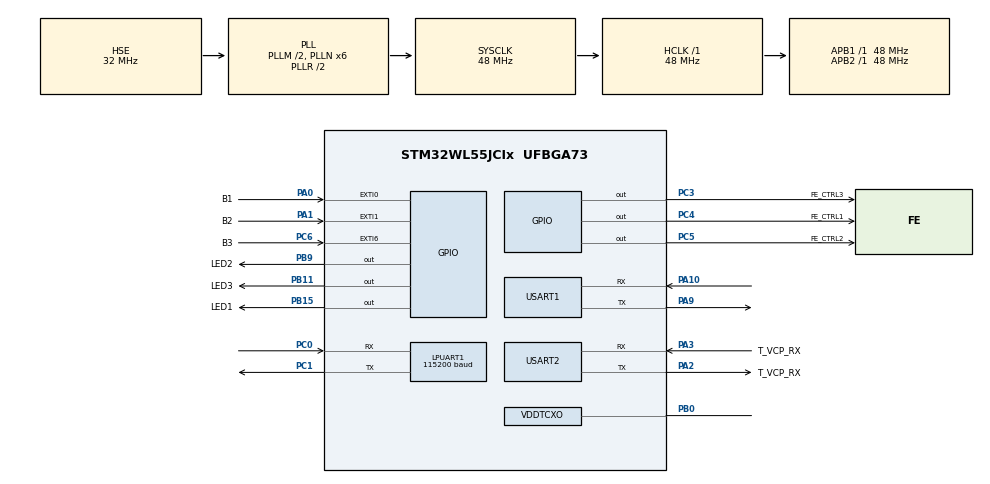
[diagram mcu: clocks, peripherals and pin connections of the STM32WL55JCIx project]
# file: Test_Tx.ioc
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LPUART1.BaudRate=115200
Mcu.Family=STM32WL
Mcu.Name=STM32WL55JCIx
Mcu.Package=UFBGA73
NVIC.LPUART1_IRQn=true\:0\:0\:false\:false\:true\:true\:true\:true
NVIC.PriorityGroup=NVIC_PRIORITYGROUP_4
NVIC.SUBGHZ_Radio_IRQn=true\:0\:0\:false\:false\:true\:true\:true\:true
NVIC.TIM1_UP_IRQn=true\:0\:0\:false\:false\:true\:true\:true\:true
NVIC.USART1_IRQn=true\:0\:0\:false\:false\:true\:true\:true\:true
NVIC.USART2_IRQn=true\:0\:0\:false\:false\:true\:true\:true\:true
OSC_IN.Mode=HSE-TCXO
OSC_IN.Signal=RCC_OSC_IN
PA0.GPIO_Label=B1
PA0.GPIO_ModeDefaultEXTI=GPIO_MODE_IT_FALLING
PA0.GPIO_PuPd=GPIO_PULLUP
PA0.Signal=GPXTI0
PA1.GPIO_Label=B2
PA1.GPIO_ModeDefaultEXTI=GPIO_MODE_IT_FALLING
PA1.GPIO_PuPd=GPIO_PULLUP
PA1.Signal=GPXTI1
PA10.Mode=Asynchronous
PA10.Signal=USART1_RX
PA13.Mode=Serial_Wire
PA13.Signal=DEBUG_JTMS-SWDIO
PA14.Mode=Serial_Wire
PA14.Signal=DEBUG_JTCK-SWCLK
PA2.GPIO_Label=T_VCP_RX
PA2.Mode=Asynchronous
PA2.Signal=USART2_TX
PA3.GPIO_Label=T_VCP_RX
PA3.Mode=Asynchronous
PA3.Signal=USART2_RX
PA9.Mode=Asynchronous
PA9.Signal=USART1_TX
PB0-VDD_TCXO.Mode=HSE-TCXO
PB0-VDD_TCXO.Signal=VDDTCXO
PB11.GPIO_Label=LED3
PB11.GPIO_Speed=GPIO_SPEED_FREQ_HIGH
PB11.Signal=GPIO_Output
PB15.GPIO_Label=LED1
PB15.GPIO_Speed=GPIO_SPEED_FREQ_HIGH
PB15.Signal=GPIO_Output
PB9.GPIO_FM9=__NULL
PB9.GPIO_Label=LED2
PB9.GPIO_Speed=GPIO_SPEED_FREQ_HIGH
PB9.Signal=GPIO_Output
PC0.Mode=Asynchronous
PC0.Signal=LPUART1_RX
PC1.Mode=Asynchronous
PC1.Signal=LPUART1_TX
PC14-OSC32_IN.Signal=RCC_OSC32_IN
PC15-OSC32_OUT.Signal=RCC_OSC32_OUT
PC3.GPIO_Label=FE_CTRL3
PC3.GPIO_Speed=GPIO_SPEED_FREQ_VERY_HIGH
PC3.Signal=GPIO_Output
PC4.GPIO_Label=FE_CTRL1
PC4.GPIO_Speed=GPIO_SPEED_FREQ_VERY_HIGH
PC4.Signal=GPIO_Output
PC5.GPIO_Label=FE_CTRL2
PC5.GPIO_Speed=GPIO_SPEED_FREQ_VERY_HIGH
PC5.Signal=GPIO_Output
PC6.GPIO_Label=B3
PC6.GPIO_ModeDefaultEXTI=GPIO_MODE_IT_FALLING
PC6.GPIO_PuPd=GPIO_PULLUP
PC6.Signal=GPXTI6
ProjectManager.HeapSize=0x200
ProjectManager.StackSize=0x400
ProjectManager.TargetToolchain=STM32CubeIDE
RCC.AHBFreq_Value=48000000
RCC.APB1Freq_Value=48000000
RCC.APB1TimFreq_Value=48000000
RCC.APB2Freq_Value=48000000
RCC.APB2TimFreq_Value=48000000
RCC.APB3Freq_Value=48000000
RCC.CortexFreq_Value=48000000
RCC.HCLKFreq_Value=48000000
RCC.HSE_VALUE=32000000
RCC.HSI_VALUE=16000000
RCC.LSE_VALUE=32768
RCC.PLLM=RCC_PLLM_DIV2
RCC.PLLN=6
RCC.PLLSourceVirtual=RCC_PLLSOURCE_HSE
RCC.SYSCLKFreq_VALUE=48000000
RCC.SYSCLKSource=RCC_SYSCLKSOURCE_PLLCLK
RCC.VCOOutputFreq_Value=96000000
TIM1.Period=1000-1
TIM1.Prescaler=48-1
TIM2.Period=1000001-1
TIM2.Prescaler=48-1
USART1.VirtualMode-Asynchronous=VM_ASYNC
USART2.VirtualMode-Asynchronous=VM_ASYNC
VP_ADV_TRACE_VS_ADV_TRACE.Mode=ADV_TRACE_Enabled
VP_MISC_VS_MISC.Mode=MISC_Enabled
VP_SEQUENCER_M4_VS_SEQUENCER.Mode=SEQUENCER_Enabled
VP_SUBGHZ_PHY_VS_SubGhzPhy.Mode=SubGhzPhy_Enabled
VP_SUBGHZ_VS_SUBGHZ.Mode=SUBGHZ_Activate
VP_TIM1_VS_ClockSourceINT.Mode=Internal
VP_TIM2_VS_ClockSourceINT.Mode=Internal
VP_TIMER_VS_TIMER.Mode=TIMER_Enabled
VP_TINY_LPM_VS_TINY_LPM.Mode=TINY_LPM_Enabled
board=NUCLEO-WL55JC2

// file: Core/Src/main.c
/* USER CODE BEGIN Header */
/**
 ******************************************************************************
 * @file           : main.c
 * @brief          : Main program body
 ******************************************************************************
 * @attention
 *
 * Copyright (c) 2024 STMicroelectronics.
 * All rights reserved.
 *
 * This software is licensed under terms that can be found in the LICENSE file
 * in the root directory of this software component.
 * If no LICENSE file comes with this software, it is provided AS-IS.
 *
 ******************************************************************************
 */
/* USER CODE END Header */
#include "main.h"
#include "app_subghz_phy.h"

/* USER CODE BEGIN Includes */

#include "com_debug.h"
#include "stdio.h"
#include "string.h"
#include "radio_driver.h"
/* USER CODE END Includes */

/* USER CODE BEGIN PTD */
#define PAYLOAD_LENGTH (16)

#define FREQ_401_MHZ            (401375000) //DLink  space to earth
#define FREQ_402_MHZ			(402375000)	//UPLINK earth to space

#define PA_DUTY_CYCLE           (0x04)
#define HP_MAX                  (0x07)
#define PA_SEL                  (0x00)

//#define POWER                   (0x16)
//#define RAMP_TIME               (0x02)

#define POWER                   (0x0E)      // Reduce power for lower consumption
#define RAMP_TIME               (0x03)      // Adjust ramp time for lower power
/* USER CODE END PTD */

/* USER CODE BEGIN PD */
PacketParams_t pkt_params;
ModulationParams_t mod_params;
/* USER CODE END PD */

UART_HandleTypeDef hlpuart1;
UART_HandleTypeDef huart1;
UART_HandleTypeDef huart2;

SUBGHZ_HandleTypeDef hsubghz;

TIM_HandleTypeDef htim1;
TIM_HandleTypeDef htim2;

/* USER CODE BEGIN PV */
uint8_t rxCMD[6];
uint8_t rxOBCCMD[4];
uint8_t rxOBCCMDLP[4];

uint8_t p_len = PAYLOAD_LENGTH;

uint8_t tx_cmd[PAYLOAD_LENGTH];
uint8_t rx_cmd[PAYLOAD_LENGTH];

uint8_t ack;
uint8_t pkt_id = 0;
uint8_t counter = 0;

uint16_t crc = 0;
uint8_t DATA_SIZE = 14;
uint8_t rssi_value;

char temp_rx[100];
char temp_OBC_rx[100];
char temp_OBC_rx_LP[100];

uint8_t TX_FLAG = 0;

uint16_t mSEC = 0;
uint8_t sec = 0;
uint8_t min = 0;
uint8_t hour = 0;
/* USER CODE END PV */

void SystemClock_Config(void);
static void MX_GPIO_Init(void);
static void MX_USART1_UART_Init(void);
static void MX_TIM2_Init(void);
static void MX_USART2_UART_Init(void);
static void MX_LPUART1_UART_Init(void);
static void MX_TIM1_Init(void);
/* USER CODE BEGIN PFP */
uint16_t calc_CRC(const uint8_t *data, uint8_t data_length);
void radioTxData();

void DioIrqHndlr(RadioIrqMasks_t radioIrq);
/* USER CODE END PFP */

/* USER CODE BEGIN 0 */
void HAL_TIM_PeriodElapsedCallback(TIM_HandleTypeDef *htim) {
	if (htim == &htim1) {
		mSEC++;

		if (mSEC > 999) {
			mSEC = 0;
			sec++;
		}

		if (sec > 0) {
			if (sec % 5 == 0) {
				TX_FLAG = 1;
			}
		}

		if (sec > 59) {
			sec = 0;
			min++;
		}

		if (min > 59) {
			min = 0;
			hour++;
		}

		if (hour > 23) {
			hour = 0;
			min = 0;
			sec = 0;
		}
	}
}

uint16_t calc_CRC(const uint8_t *data, uint8_t data_length) {

	uint16_t crcReg = 0xFFFF;	// Initialize the CRC register with 0xFFFF
	uint16_t calc = 0x8408;		// Polynomial for CRC-16
	uint16_t w;
	int i, j;
	uint8_t calc_data[DATA_SIZE];  // in 16 bytes, 14 are data bytes

	// Copy data into calc_data
	for (i = 0; i < data_length; i++) {
		calc_data[i] = data[i];
		// Iterate over each byte of data
		for (j = 0; j < 8; j++) {
			w = (crcReg ^ calc_data[i]) & 0x0001; // XOR the LSB of crcReg with the LSB of calc_data
			crcReg = crcReg >> 1;			// Right-shift the crcReg by 1 bit
			if (w == 1) {
				crcReg = crcReg ^ calc;	// If w is 1, XOR the crcReg with the polynomial
			}
			calc_data[i] = calc_data[i] >> 1;// Right-shift the data byte by 1 bit
		}
	}
	crcReg = crcReg ^ 0xFFFF;						// Final XOR with 0xFFFF
	return crcReg;
}

void radioTxData() {
	tx_cmd[0] = 0x42;
	tx_cmd[1] = 0x4D;

	//getSoilSensorData();
	tx_cmd[2] = 0x01; 		       //gst data (GST ID)
	//tx_cmd[3] = read_soil_value >> 8 & 0xff; 	  //gst DATA (SOIL SENSOR - MSB)
	//tx_cmd[4] = read_soil_value & 0xff;     //gst data (SOIL SENSOR LSB)

	tx_cmd[3] = 0x1A; 	  //gst DATA (SOIL SENSOR - MSB)
	tx_cmd[4] = 0x23;     //gst data (SOIL SENSOR LSB)

	tx_cmd[5] = 0x33;    //gst data
	tx_cmd[6] = 0x44;
	tx_cmd[7] = 0x55;
	tx_cmd[8] = 0x66;
	tx_cmd[9] = 0x77;
	tx_cmd[10] = 0x88;
	tx_cmd[11] = 0x99;
	tx_cmd[12] = 0x38;
	tx_cmd[13] = 0xA7;
	crc = 0;
	crc = calc_CRC(tx_cmd, DATA_SIZE);
	tx_cmd[14] = crc >> 8;
	tx_cmd[15] = crc;
}
/* USER CODE END 0 */

int main(void) {

	/* MCU Configuration--------------------------------------------------------*/

	/* Reset of all peripherals, Initializes the Flash interface and the Systick. */
	HAL_Init();

	/* Configure the system clock */
	SystemClock_Config();

	/* Initialize all configured peripherals */
	MX_GPIO_Init();
	MX_SubGHz_Phy_Init();
	MX_USART1_UART_Init();
	MX_TIM2_Init();
	MX_USART2_UART_Init();
	MX_LPUART1_UART_Init();
	MX_TIM1_Init();
	/* USER CODE BEGIN 2 */

	HAL_TIM_Base_Start(&htim2);

	pkt_params.PacketType = PACKET_TYPE_LORA;
	pkt_params.Params.LoRa.PayloadLength = PAYLOAD_LENGTH;
	pkt_params.Params.LoRa.PreambleLength = 8;
	pkt_params.Params.LoRa.HeaderType = LORA_PACKET_IMPLICIT;
	pkt_params.Params.LoRa.CrcMode = LORA_CRC_ON;
	pkt_params.Params.LoRa.InvertIQ = LORA_IQ_NORMAL;

	mod_params.PacketType = PACKET_TYPE_LORA;
	mod_params.Params.LoRa.Bandwidth = LORA_BW_031;
	mod_params.Params.LoRa.SpreadingFactor = LORA_SF10;
	mod_params.Params.LoRa.CodingRate = LORA_CR_4_8;
//	mod_params.Params.LoRa.LowDatarateOptimize = 0;
	mod_params.Params.LoRa.LowDatarateOptimize = 1; // Enable low data rate optimization

	SUBGRF_Init(DioIrqHndlr);
	SUBGRF_SetBufferBaseAddress(0x00, 0x00);
	SUBGRF_SetPayload(tx_cmd, PAYLOAD_LENGTH);
	SUBGRF_SetPacketParams(&pkt_params);
	SUBGRF_SetSyncWord(( uint8_t[] ) { 0xC1, 0x94, 0xC1, 0x00, 0x00, 0x00, 0x00,
					0x00 });
	SUBGRF_SetWhiteningSeed(0x01FF);
	SUBGRF_SetRfFrequency(FREQ_402_MHZ);
	SUBGRF_SetPaConfig(PA_DUTY_CYCLE, HP_MAX, PA_SEL, 0x01);
	//SUBGRF_SetTxParams(RFO_HP, POWER, RAMP_TIME);
	SUBGRF_SetTxParams(RFO_LP, POWER, RAMP_TIME); // Set to RFO_LP for low power
	SUBGRF_SetModulationParams(&mod_params);
	SUBGRF_SetDioIrqParams(
			IRQ_TX_DONE | IRQ_PREAMBLE_DETECTED | IRQ_RX_DONE
					| IRQ_RX_TX_TIMEOUT | IRQ_SYNCWORD_VALID,
			IRQ_TX_DONE | IRQ_PREAMBLE_DETECTED | IRQ_RX_DONE
					| IRQ_RX_TX_TIMEOUT | IRQ_SYNCWORD_VALID, IRQ_RADIO_NONE,
			IRQ_RADIO_NONE);

	myPrintf("\n########## Test code: BEGIN ##########\r\n");
	myPrintf("########## UART1 (PA9_TX, PA10_RX): 		##########\r\n");
	myPrintf("Pin Description: Debug COM_MCU\r\n");
	myPrintf("If this message pop up then debug COM MCU is working!!!\r\n");
	myPrintf("__________________________________________________\r\n");
	myPrintf("________________Waiting to receive COM Command____________\r\n");
	myPrintf("SEND 'UART02' to test UART2 OBC'\r\n");
	myPrintf("SEND 'LPUART' to test LPUART OBC'\r\n");
	myPrintf("SEND '3RADIO' to test RFO LP Radio'\r\n");
	myPrintf("__________________________________________________\r\n");

	HAL_UART_Receive_IT(&huart1, rxCMD, 6);

	/* USER CODE END 2 */

	/* Infinite loop */
	/* USER CODE BEGIN WHILE */
	while (1) {

		HAL_GPIO_WritePin(GPIOB, LED1_Pin, GPIO_PIN_RESET);
		delay_us(1000000);
		HAL_GPIO_WritePin(GPIOB, LED1_Pin, GPIO_PIN_SET);
		delay_us(1000000);

		if (TX_FLAG) {
			radioTxData();
			SUBGRF_SetRfFrequency(FREQ_402_MHZ);
			//SUBGRF_SetSwitch(RFO_HP, RFSWITCH_TX); /*Set RF switch*/
			SUBGRF_SetSwitch(RFO_LP, RFSWITCH_TX); /*Set RF switch*/
			SUBGRF_SendPayload(tx_cmd, 16, 0);
			counter++;
		}

		/* USER CODE END WHILE */
		MX_SubGHz_Phy_Process();

	}
}

void SystemClock_Config(void) {
	RCC_OscInitTypeDef RCC_OscInitStruct = { 0 };
	RCC_ClkInitTypeDef RCC_ClkInitStruct = { 0 };

	/** Configure the main internal regulator output voltage
	 */
	__HAL_PWR_VOLTAGESCALING_CONFIG(PWR_REGULATOR_VOLTAGE_SCALE1);

	/** Initializes the CPU, AHB and APB buses clocks
	 */
	RCC_OscInitStruct.OscillatorType = RCC_OSCILLATORTYPE_HSE;
	RCC_OscInitStruct.HSEState = RCC_HSE_BYPASS_PWR;
	RCC_OscInitStruct.HSEDiv = RCC_HSE_DIV1;
	RCC_OscInitStruct.PLL.PLLState = RCC_PLL_ON;
	RCC_OscInitStruct.PLL.PLLSource = RCC_PLLSOURCE_HSE;
	RCC_OscInitStruct.PLL.PLLM = RCC_PLLM_DIV2;
	RCC_OscInitStruct.PLL.PLLN = 6;
	RCC_OscInitStruct.PLL.PLLP = RCC_PLLP_DIV2;
	RCC_OscInitStruct.PLL.PLLR = RCC_PLLR_DIV2;
	RCC_OscInitStruct.PLL.PLLQ = RCC_PLLQ_DIV2;
	if (HAL_RCC_OscConfig(&RCC_OscInitStruct) != HAL_OK) {
		Error_Handler();
	}

	/** Configure the SYSCLKSource, HCLK, PCLK1 and PCLK2 clocks dividers
	 */
	RCC_ClkInitStruct.ClockType = RCC_CLOCKTYPE_HCLK3 | RCC_CLOCKTYPE_HCLK
			| RCC_CLOCKTYPE_SYSCLK | RCC_CLOCKTYPE_PCLK1 | RCC_CLOCKTYPE_PCLK2;
	RCC_ClkInitStruct.SYSCLKSource = RCC_SYSCLKSOURCE_PLLCLK;
	RCC_ClkInitStruct.AHBCLKDivider = RCC_SYSCLK_DIV1;
	RCC_ClkInitStruct.APB1CLKDivider = RCC_HCLK_DIV1;
	RCC_ClkInitStruct.APB2CLKDivider = RCC_HCLK_DIV1;
	RCC_ClkInitStruct.AHBCLK3Divider = RCC_SYSCLK_DIV1;

	if (HAL_RCC_ClockConfig(&RCC_ClkInitStruct, FLASH_LATENCY_2) != HAL_OK) {
		Error_Handler();
	}
}

static void MX_LPUART1_UART_Init(void) {

	hlpuart1.Instance = LPUART1;
	hlpuart1.Init.BaudRate = 115200;
	hlpuart1.Init.WordLength = UART_WORDLENGTH_8B;
	hlpuart1.Init.StopBits = UART_STOPBITS_1;
	hlpuart1.Init.Parity = UART_PARITY_NONE;
	hlpuart1.Init.Mode = UART_MODE_TX_RX;
	hlpuart1.Init.HwFlowCtl = UART_HWCONTROL_NONE;
	hlpuart1.Init.OneBitSampling = UART_ONE_BIT_SAMPLE_DISABLE;
	hlpuart1.Init.ClockPrescaler = UART_PRESCALER_DIV1;
	hlpuart1.AdvancedInit.AdvFeatureInit = UART_ADVFEATURE_NO_INIT;
	hlpuart1.FifoMode = UART_FIFOMODE_DISABLE;
	if (HAL_UART_Init(&hlpuart1) != HAL_OK) {
		Error_Handler();
	}
	if (HAL_UARTEx_SetTxFifoThreshold(&hlpuart1, UART_TXFIFO_THRESHOLD_1_8)
			!= HAL_OK) {
		Error_Handler();
	}
	if (HAL_UARTEx_SetRxFifoThreshold(&hlpuart1, UART_RXFIFO_THRESHOLD_1_8)
			!= HAL_OK) {
		Error_Handler();
	}
	if (HAL_UARTEx_DisableFifoMode(&hlpuart1) != HAL_OK) {
		Error_Handler();
	}

}

static void MX_USART1_UART_Init(void) {

	huart1.Instance = USART1;
	huart1.Init.BaudRate = 115200;
	huart1.Init.WordLength = UART_WORDLENGTH_8B;
	huart1.Init.StopBits = UART_STOPBITS_1;
	huart1.Init.Parity = UART_PARITY_NONE;
	huart1.Init.Mode = UART_MODE_TX_RX;
	huart1.Init.HwFlowCtl = UART_HWCONTROL_NONE;
	huart1.Init.OverSampling = UART_OVERSAMPLING_16;
	huart1.Init.OneBitSampling = UART_ONE_BIT_SAMPLE_DISABLE;
	huart1.Init.ClockPrescaler = UART_PRESCALER_DIV1;
	huart1.AdvancedInit.AdvFeatureInit = UART_ADVFEATURE_NO_INIT;
	if (HAL_UART_Init(&huart1) != HAL_OK) {
		Error_Handler();
	}
	if (HAL_UARTEx_SetTxFifoThreshold(&huart1, UART_TXFIFO_THRESHOLD_1_8)
			!= HAL_OK) {
		Error_Handler();
	}
	if (HAL_UARTEx_SetRxFifoThreshold(&huart1, UART_RXFIFO_THRESHOLD_1_8)
			!= HAL_OK) {
		Error_Handler();
	}
	if (HAL_UARTEx_DisableFifoMode(&huart1) != HAL_OK) {
		Error_Handler();
	}

}

static void MX_USART2_UART_Init(void) {

	huart2.Instance = USART2;
	huart2.Init.BaudRate = 115200;
	huart2.Init.WordLength = UART_WORDLENGTH_8B;
	huart2.Init.StopBits = UART_STOPBITS_1;
	huart2.Init.Parity = UART_PARITY_NONE;
	huart2.Init.Mode = UART_MODE_TX_RX;
	huart2.Init.HwFlowCtl = UART_HWCONTROL_NONE;
	huart2.Init.OverSampling = UART_OVERSAMPLING_16;
	huart2.Init.OneBitSampling = UART_ONE_BIT_SAMPLE_DISABLE;
	huart2.Init.ClockPrescaler = UART_PRESCALER_DIV1;
	huart2.AdvancedInit.AdvFeatureInit = UART_ADVFEATURE_NO_INIT;
	if (HAL_UART_Init(&huart2) != HAL_OK) {
		Error_Handler();
	}
	if (HAL_UARTEx_SetTxFifoThreshold(&huart2, UART_TXFIFO_THRESHOLD_1_8)
			!= HAL_OK) {
		Error_Handler();
	}
	if (HAL_UARTEx_SetRxFifoThreshold(&huart2, UART_RXFIFO_THRESHOLD_1_8)
			!= HAL_OK) {
		Error_Handler();
	}
	if (HAL_UARTEx_DisableFifoMode(&huart2) != HAL_OK) {
		Error_Handler();
	}

}

void MX_SUBGHZ_Init(void) {

	hsubghz.Init.BaudratePrescaler = SUBGHZSPI_BAUDRATEPRESCALER_8;
	if (HAL_SUBGHZ_Init(&hsubghz) != HAL_OK) {
		Error_Handler();
	}

}

static void MX_TIM1_Init(void) {

	TIM_ClockConfigTypeDef sClockSourceConfig = { 0 };
	TIM_MasterConfigTypeDef sMasterConfig = { 0 };

	htim1.Instance = TIM1;
	htim1.Init.Prescaler = 48 - 1;
	htim1.Init.CounterMode = TIM_COUNTERMODE_UP;
	htim1.Init.Period = 1000 - 1;
	htim1.Init.ClockDivision = TIM_CLOCKDIVISION_DIV1;
	htim1.Init.RepetitionCounter = 0;
	htim1.Init.AutoReloadPreload = TIM_AUTORELOAD_PRELOAD_DISABLE;
	if (HAL_TIM_Base_Init(&htim1) != HAL_OK) {
		Error_Handler();
	}
	sClockSourceConfig.ClockSource = TIM_CLOCKSOURCE_INTERNAL;
	if (HAL_TIM_ConfigClockSource(&htim1, &sClockSourceConfig) != HAL_OK) {
		Error_Handler();
	}
	sMasterConfig.MasterOutputTrigger = TIM_TRGO_RESET;
	sMasterConfig.MasterOutputTrigger2 = TIM_TRGO2_RESET;
	sMasterConfig.MasterSlaveMode = TIM_MASTERSLAVEMODE_DISABLE;
	if (HAL_TIMEx_MasterConfigSynchronization(&htim1, &sMasterConfig)
			!= HAL_OK) {
		Error_Handler();
	}

}

static void MX_TIM2_Init(void) {

	TIM_ClockConfigTypeDef sClockSourceConfig = { 0 };
	TIM_MasterConfigTypeDef sMasterConfig = { 0 };

	htim2.Instance = TIM2;
	htim2.Init.Prescaler = 48 - 1;
	htim2.Init.CounterMode = TIM_COUNTERMODE_UP;
	htim2.Init.Period = 1000001 - 1;
	htim2.Init.ClockDivision = TIM_CLOCKDIVISION_DIV1;
	htim2.Init.AutoReloadPreload = TIM_AUTORELOAD_PRELOAD_DISABLE;
	if (HAL_TIM_Base_Init(&htim2) != HAL_OK) {
		Error_Handler();
	}
	sClockSourceConfig.ClockSource = TIM_CLOCKSOURCE_INTERNAL;
	if (HAL_TIM_ConfigClockSource(&htim2, &sClockSourceConfig) != HAL_OK) {
		Error_Handler();
	}
	sMasterConfig.MasterOutputTrigger = TIM_TRGO_RESET;
	sMasterConfig.MasterSlaveMode = TIM_MASTERSLAVEMODE_DISABLE;
	if (HAL_TIMEx_MasterConfigSynchronization(&htim2, &sMasterConfig)
			!= HAL_OK) {
		Error_Handler();
	}

}

static void MX_GPIO_Init(void) {
	GPIO_InitTypeDef GPIO_InitStruct = { 0 };

	/* GPIO Ports Clock Enable */
	__HAL_RCC_GPIOA_CLK_ENABLE();
	__HAL_RCC_GPIOB_CLK_ENABLE();
	__HAL_RCC_GPIOC_CLK_ENABLE();

	/*Configure GPIO pin Output Level */
	HAL_GPIO_WritePin(GPIOB, LED1_Pin | LED2_Pin | LED3_Pin, GPIO_PIN_RESET);

	/*Configure GPIO pin Output Level */
	HAL_GPIO_WritePin(GPIOC, FE_CTRL3_Pin | FE_CTRL2_Pin | FE_CTRL1_Pin,
			GPIO_PIN_RESET);

	/*Configure GPIO pins : LED1_Pin LED2_Pin LED3_Pin */
	GPIO_InitStruct.Pin = LED1_Pin | LED2_Pin | LED3_Pin;
	GPIO_InitStruct.Mode = GPIO_MODE_OUTPUT_PP;
	GPIO_InitStruct.Pull = GPIO_NOPULL;
	GPIO_InitStruct.Speed = GPIO_SPEED_FREQ_HIGH;
	HAL_GPIO_Init(GPIOB, &GPIO_InitStruct);

	/*Configure GPIO pins : FE_CTRL3_Pin FE_CTRL2_Pin FE_CTRL1_Pin */
	GPIO_InitStruct.Pin = FE_CTRL3_Pin | FE_CTRL2_Pin | FE_CTRL1_Pin;
	GPIO_InitStruct.Mode = GPIO_MODE_OUTPUT_PP;
	GPIO_InitStruct.Pull = GPIO_NOPULL;
	GPIO_InitStruct.Speed = GPIO_SPEED_FREQ_VERY_HIGH;
	HAL_GPIO_Init(GPIOC, &GPIO_InitStruct);

	/*Configure GPIO pins : B1_Pin B2_Pin */
	GPIO_InitStruct.Pin = B1_Pin | B2_Pin;
	GPIO_InitStruct.Mode = GPIO_MODE_IT_FALLING;
	GPIO_InitStruct.Pull = GPIO_PULLUP;
	HAL_GPIO_Init(GPIOA, &GPIO_InitStruct);

	/*Configure GPIO pin : B3_Pin */
	GPIO_InitStruct.Pin = B3_Pin;
	GPIO_InitStruct.Mode = GPIO_MODE_IT_FALLING;
	GPIO_InitStruct.Pull = GPIO_PULLUP;
	HAL_GPIO_Init(B3_GPIO_Port, &GPIO_InitStruct);

}

/* USER CODE BEGIN 4 */
void HAL_UART_RxCpltCallback(UART_HandleTypeDef *huart) {
	if (huart == &huart1) {
		sprintf(temp_rx, "%c%c%c%c%c%c", rxCMD[0], rxCMD[1], rxCMD[2], rxCMD[3],
				rxCMD[4], rxCMD[5]);
		if (strcmp(temp_rx, "UART02") == 0) {
			ack = 1;
			myPrintf("\n########## Test code: BEGIN ##########\r\n");
			myPrintf("########## UART2 (PA2_TX, PA3_RX): 		##########\r\n");
			myPrintf("Pin Description: OBC_COM_1\r\n");
			myPrintf(
					"If this message pop up then track in OBC_COM_1_Script_Communicator\r\n");
			myPrintf("------------- Wait for Test Complete --------------\r\n");
			myPrintf("__________________________________________________\r\n");

			myPrintf2(
					"#\n######### Thank you for visiting OBC_COM_1_Script_Communicator ##########\r\n");
			myPrintf2("########## UART2 (PA2_TX, PA3_RX): 		##########\r\n");
			myPrintf2("Pin Description: OBC_COM_1\r\n");
			myPrintf2(
					"Please send 'OK02' to verify test and track into COM_Script_Communicator, i.e.\r\n");
			myPrintf2("1. UART1 (PA9_TX, PA10_RX): 		##########\r\n");
			myPrintf2("2. Pin Description: Debug COM_MCU\r\n");
			myPrintf2("__________________________________________________\r\n");
			HAL_UART_Receive_IT(&huart2, rxOBCCMD, 4);
		} else if (strcmp(temp_rx, "LPUART") == 0) {
			ack = 2;
			myPrintf("\n########## Test code: BEGIN ##########\r\n");
			myPrintf("########## LPUART (PC1_TX, PC0_RX): 		##########\r\n");
			myPrintf("Pin Description: OBC_COM_LPUART\r\n");
			myPrintf(
					"If this message pop up then track in OBC_COM_LPUART_Script_Communicator\r\n");
			myPrintf("------------- Wait for Test Complete --------------\r\n");
			myPrintf("__________________________________________________\r\n");

			myPrintf3(
					"\n########## Thank you for visiting OBC_COM_LPUART_Script_Communicator ##########\r\n");
			myPrintf3("########## LPUART (PC1_TX, PC0_RX): 		##########\r\n");
			myPrintf3("Pin Description: OBC_COM_LPUART\r\n");
			myPrintf3(
					"Please send 'OKLP' to verify test and track into COM_Script_Communicator, i.e.\r\n");
			myPrintf3("1. UART1 (PA9_TX, PA10_RX): 		##########\r\n");
			myPrintf3("2. Pin Description: Debug COM_MCU\r\n");
			myPrintf3("__________________________________________________\r\n");
			HAL_UART_Receive_IT(&hlpuart1, rxOBCCMDLP, 4);
		} else if (strcmp(temp_rx, "3RADIO") == 0) {
			ack = 3;
			myPrintf("\n########## Test code: BEGIN ##########\r\n");
			myPrintf("########## Low Power Radio: 	##########\r\n");
			myPrintf("########## COMMUNICATION PARAMETERS: 		##########\r\n");
			myPrintf("Modulation: LoRa PACKET\r\n");
			myPrintf(
					"FREQUENCY MODS: UPLINK FREQ: %lu\r\n    DOWNLINK FREQ: %lu\r\n",
					FREQ_402_MHZ, FREQ_401_MHZ);
			myPrintf(
					"POWER CONFIG:\r\n    PA_DUTY_CYCLE : %x,    HP_MAX: %x,\n\r    PA_SEL : %x,    POWER TX: %u dBm\n\r",
					PA_DUTY_CYCLE, HP_MAX, PA_SEL, POWER);
			myPrintf("RECEVING BANDWIDTH: 	%d\n\r",
					mod_params.Params.LoRa.Bandwidth);
			myPrintf("Packet Type: 			%d\n\r", pkt_params.PacketType);
			myPrintf("PayloadLength: 		%d\n\r",
					pkt_params.Params.LoRa.PayloadLength);
			myPrintf("PreambleLength: 		%d\n\r",
					pkt_params.Params.LoRa.PreambleLength);
			myPrintf("HeaderType: 			%d\n\r",
					pkt_params.Params.LoRa.HeaderType);

			myPrintf(
					"If this message pop up then track in other NucleoWL55JC2 Receiver\r\n");
			myPrintf("------------- Wait for Test Complete --------------\r\n");
			myPrintf("__________________________________________________\r\n");
			myPrintf(
					"\n\rTo stop the testing first complete transmission and reception:  \r\n");
			myPrintf("##### The Transmitter will transmits packets now. \r\n");

			HAL_TIM_Base_Start_IT(&htim1);
		}
		HAL_UART_Receive_IT(&huart1, rxCMD, 6);
	} else if (huart == &huart2) {
		sprintf(temp_OBC_rx, "%c%c%c%c", rxOBCCMD[0], rxOBCCMD[1], rxOBCCMD[2],
				rxOBCCMD[3]);
		if (strcmp(temp_OBC_rx, "OK02") == 0) {
			myPrintf("\n---------    Test Complete    ---------\r\n");
			myPrintf("----------- Received 'OK02' from:- \r\n");
			myPrintf("########## UART2 (PA2_TX, PA3_RX): 		##########\r\n");
			myPrintf(
					"########## Pin Description: OBC_COM_1     ##########\r\n");
			myPrintf("__________________________________________________\r\n");
			myPrintf("__________________________________________________\r\n");
			myPrintf(
					"________________Waiting to receive COM Command____________\r\n");
			myPrintf("SEND 'UART02' to test UART2 OBC'\r\n");
			myPrintf("SEND 'LPUART' to test LPUART OBC'\r\n");
			myPrintf("SEND '3RADIO' to test RFO LP Radio'\r\n");
			myPrintf("__________________________________________________\r\n");
		}
		HAL_UART_Receive_IT(&huart2, rxOBCCMD, 4);
	} else if (huart == &hlpuart1) {
		sprintf(temp_OBC_rx_LP, "%c%c%c%c", rxOBCCMDLP[0], rxOBCCMDLP[1],
				rxOBCCMDLP[2], rxOBCCMDLP[3]);
		if (strcmp(temp_OBC_rx_LP, "OKLP") == 0) {
			myPrintf("\n---------    Test Complete    ---------\r\n");
			myPrintf("----------- Received 'OKLP' from:- \r\n");
			myPrintf("########## LPUART (PC1_TX, PC0_RX):  		##########\r\n");
			myPrintf(
					"########## Pin Description: OBC_COM_LPUART     ##########\r\n");
			myPrintf("__________________________________________________\r\n");
			myPrintf("__________________________________________________\r\n");
			myPrintf(
					"________________Waiting to receive COM Command____________\r\n");
			myPrintf("SEND 'UART02' to test UART2 OBC'\r\n");
			myPrintf("SEND 'LPUART' to test LPUART OBC'\r\n");
			myPrintf("SEND '3RADIO' to test RFO LP Radio'\r\n");
			myPrintf("__________________________________________________\r\n");
		}
		HAL_UART_Receive_IT(&hlpuart1, rxOBCCMDLP, 4);
	}
}

void DioIrqHndlr(RadioIrqMasks_t radioIrq) {
	if (radioIrq == IRQ_TX_DONE) {
		TX_FLAG = 0;
		myPrintf("\n\r Test Command Transmitted Successful:  \r");
		for (int i = 0; i < 16; i++) {
			myPrintf(" %02x", tx_cmd[i]);
		}
		myPrintf("\n\n");
		pkt_id++;
		if (pkt_id > 5) {
			pkt_id = 0;
			HAL_TIM_Base_Stop(&htim1);
			myPrintf("\n\r Testing, Wait to receive:  \r\n");

			myPrintf("\n########## Receive and Transmits ##########\r\n");
			myPrintf("########## Low Power Radio Receiver: 	##########\r\n");
			myPrintf("########## COMMUNICATION PARAMETERS: 		##########\r\n");
			myPrintf("Modulation: LoRa PACKET\r\n");
			myPrintf(
					"FREQUENCY MODS: UPLINK FREQ: %lu\r\n    DOWNLINK FREQ: %lu\r\n",
					FREQ_402_MHZ, FREQ_401_MHZ);
			myPrintf(
					"POWER CONFIG:\r\n    PA_DUTY_CYCLE : %x,    HP_MAX: %x,\n\r    PA_SEL : %x,    POWER TX: %u dBm\n\r",
					PA_DUTY_CYCLE, HP_MAX, PA_SEL, POWER);
			myPrintf("RECEVING BANDWIDTH: 	%d\n\r",
					mod_params.Params.LoRa.Bandwidth);
			myPrintf("Packet Type: 			%d\n\r", pkt_params.PacketType);
			myPrintf("PayloadLength: 		%d\n\r",
					pkt_params.Params.LoRa.PayloadLength);
			myPrintf("PreambleLength: 		%d\n\r",
					pkt_params.Params.LoRa.PreambleLength);
			myPrintf("HeaderType: 			%d\n\r",
					pkt_params.Params.LoRa.HeaderType);
			myPrintf(
					"--------   If this message pop up then wait to receive   --------\r\n");
			myPrintf("__________________________________________________\r\n");
			SUBGRF_SetRfFrequency(FREQ_401_MHZ);
			SUBGRF_SetSwitch(RFO_LP, RFSWITCH_RX); /*Set RF switch*/
			SUBGRF_SetRxBoosted(0xFFFFFF);

			HAL_GPIO_WritePin(GPIOB, LED1_Pin, GPIO_PIN_SET);
			delay_us(1000000);  // 500ms delay
			HAL_GPIO_WritePin(GPIOB, LED1_Pin, GPIO_PIN_RESET);
			delay_us(1000000);
		}
	}
	if (radioIrq == IRQ_RX_DONE) {
		pkt_id++;
		SUBGRF_GetPayload(rx_cmd, &p_len, PAYLOAD_LENGTH);
		rssi_value = SUBGRF_GetRssiInst();
		myPrintf("\nLora Received\r\n");
		for (int i = 0; i < sizeof(rx_cmd); i++) {
			myPrintf(" %x", rx_cmd[i]);
		}
		myPrintf("\r\n");
		if (pkt_id > 5) {
			myPrintf("\n\rTesting complete, Receive and Transmit done.  \r\n");
			myPrintf("__________________________________________________\r\n");
			myPrintf(
					"________________Waiting to receive COM Command____________\r\n");
			myPrintf("SEND 'UART02' to test UART2 OBC'\r\n");
			myPrintf("SEND 'LPUART' to test LPUART OBC'\r\n");
			myPrintf("SEND '3RADIO' to test RFO LP Radio'\r\n");
			myPrintf("__________________________________________________\r\n");
			pkt_id = 0;
		}
	}
}

/* USER CODE END 4 */

void Error_Handler(void) {
	__disable_irq();
	while (1) {
	}
}
